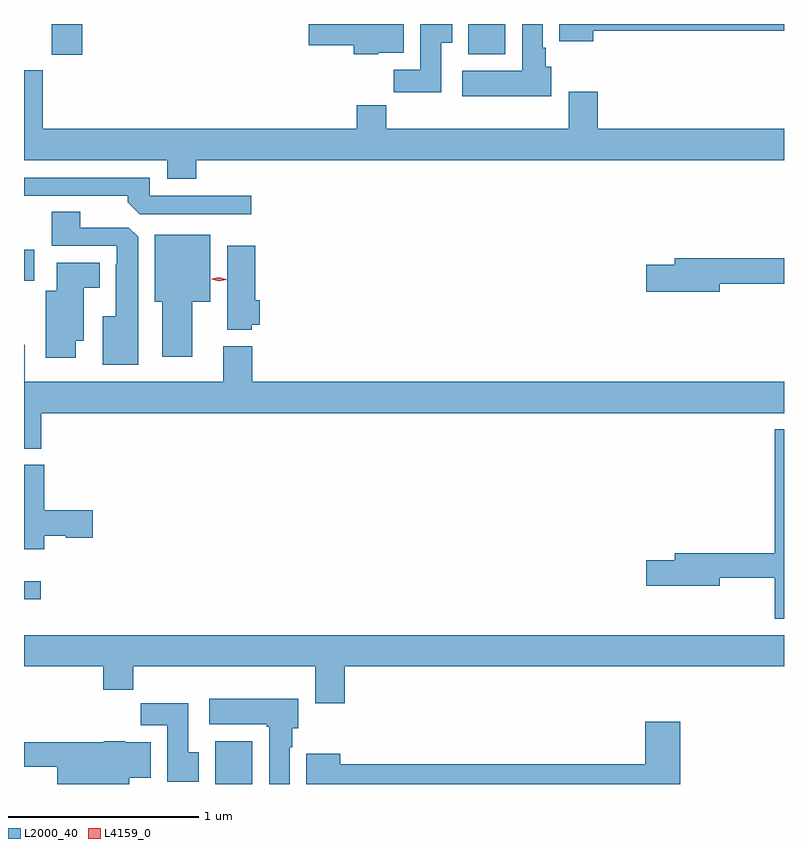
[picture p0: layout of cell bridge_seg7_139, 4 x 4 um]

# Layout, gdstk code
import gdstk
lib = gdstk.Library(unit=1e-6, precision=1e-09)
def R(c, l, rs):  # rectangles x0, y0, x1, y1
    for r in rs: c.add(gdstk.rectangle(r[:2], r[2:], *l))
def P(c, l, *ps):  # polygons
    for p in ps: c.add(gdstk.Polygon(p, *l))
L2000_40 = (2000, 40)
L4159_0 = (4159, 0)

bridge_seg7_139 = lib.new_cell('bridge_seg7_139')
R(bridge_seg7_139, L2000_40, [(721.397,1039.956,721.593,1040.182), (720.391,1040.928,720.478,1041.024), (720.391,1042.606,720.445,1042.768), (720.538,1043.793,720.698,1043.956), (722.729,1043.798,722.925,1043.956)])
P(bridge_seg7_139, L2000_40, [(722.256,1043.804),(722.389,1043.804),(722.389,1043.956),(721.89,1043.956),(721.89,1043.845),(722.126,1043.845),(722.126,1043.798),(722.256,1043.798)],
  [(723.388,1043.92),(724.391,1043.92),(724.391,1043.956),(723.209,1043.956),(723.209,1043.864),(723.388,1043.864)],
  [(722.587,1043.857),(722.644,1043.857),(722.644,1043.956),(722.477,1043.956),(722.477,1043.716),(722.338,1043.716),(722.338,1043.598),(722.587,1043.598)],
  [(723.166,1043.73),(723.136,1043.73),(723.136,1043.83),(723.121,1043.83),(723.121,1043.956),(723.014,1043.956),(723.014,1043.71),(722.697,1043.71),(722.697,1043.576),(723.166,1043.576)],
  [(721.298,1043.24),(724.391,1043.24),(724.391,1043.404),(723.41,1043.404),(723.41,1043.599),(723.257,1043.599),(723.257,1043.404),(722.297,1043.404),(722.297,1043.528),(722.141,1043.528),(722.141,1043.404),(720.49,1043.404),(720.49,1043.713),(720.391,1043.713),(720.391,1043.24),(721.145,1043.24),(721.145,1043.141),(721.298,1043.141)],
  [(721.588,1043.052),(721.053,1043.052),(721.053,1043.148),(720.391,1043.148),(720.391,1043.052),(720.938,1043.052),(720.938,1043.018),(720.999,1042.956),(721.588,1042.956)],
  [(720.991,1042.835),(720.942,1042.884),(720.688,1042.884),(720.688,1042.967),(720.536,1042.967),(720.536,1042.788),(720.879,1042.788),(720.879,1042.691),(720.875,1042.691),(720.875,1042.417),(720.806,1042.417),(720.806,1042.163),(720.991,1042.163)],
  [(721.276,1042.493),(721.372,1042.493),(721.372,1042.846),(721.079,1042.846),(721.079,1042.493),(721.118,1042.493),(721.118,1042.206),(721.276,1042.206)],
  [(721.59,1042.373),(721.633,1042.373),(721.633,1042.503),(721.607,1042.503),(721.607,1042.789),(721.46,1042.789),(721.46,1042.346),(721.59,1042.346)],
  [(724.054,1042.588),(724.391,1042.588),(724.391,1042.724),(723.815,1042.724),(723.815,1042.688),(723.666,1042.688),(723.666,1042.546),(724.054,1042.546)],
  [(720.664,1042.289),(720.706,1042.289),(720.706,1042.568),(720.79,1042.568),(720.79,1042.699),(720.563,1042.699),(720.563,1042.552),(720.506,1042.552),(720.506,1042.2),(720.664,1042.2)],
  [(720.482,1041.908),(724.391,1041.908),(724.391,1042.072),(721.592,1042.072),(721.592,1042.261),(721.439,1042.261),(721.439,1042.072),(720.394,1042.072),(720.394,1042.267),(720.391,1042.267),(720.391,1041.721),(720.482,1041.721)],
  [(724.391,1041.823),(724.343,1041.823),(724.343,1041.17),(723.815,1041.17),(723.815,1041.134),(723.666,1041.134),(723.666,1040.999),(724.054,1040.999),(724.054,1041.042),(724.343,1041.042),(724.343,1040.825),(724.391,1040.825)],
  [(720.497,1041.263),(720.611,1041.263),(720.611,1041.251),(720.754,1041.251),(720.754,1041.398),(720.497,1041.398),(720.497,1041.636),(720.391,1041.636),(720.391,1041.192),(720.497,1041.192)],
  [(722.078,1040.576),(724.391,1040.576),(724.391,1040.74),(720.391,1040.74),(720.391,1040.576),(720.809,1040.576),(720.809,1040.452),(720.965,1040.452),(720.965,1040.576),(721.925,1040.576),(721.925,1040.382),(722.078,1040.382)],
  [(721.789,1040.15),(721.804,1040.15),(721.804,1040.25),(721.834,1040.25),(721.834,1040.404),(721.365,1040.404),(721.365,1040.27),(721.669,1040.27),(721.669,1040.257),(721.682,1040.257),(721.682,1039.956),(721.789,1039.956)],
  [(721.312,1040.124),(721.255,1040.124),(721.255,1040.382),(721.006,1040.382),(721.006,1040.264),(721.145,1040.264),(721.145,1039.968),(721.312,1039.968)],
  [(723.845,1040.284),(723.662,1040.284),(723.662,1040.06),(722.056,1040.06),(722.056,1040.116),(721.877,1040.116),(721.877,1039.956),(723.845,1039.956)],
  [(720.946,1039.988),(721.057,1039.988),(721.057,1040.176),(720.924,1040.176),(720.924,1040.182),(720.81,1040.182),(720.81,1040.176),(720.391,1040.176),(720.391,1040.047),(720.566,1040.047),(720.566,1039.956),(720.946,1039.956)])
P(bridge_seg7_139, L4159_0, [(721.416,1042.603),(721.379,1042.613),(721.378,1042.614),(721.379,1042.614),(721.417,1042.623),(721.455,1042.612),(721.455,1042.612),(721.455,1042.611)])

lib.write_gds('bridge_seg7_139.gds')
